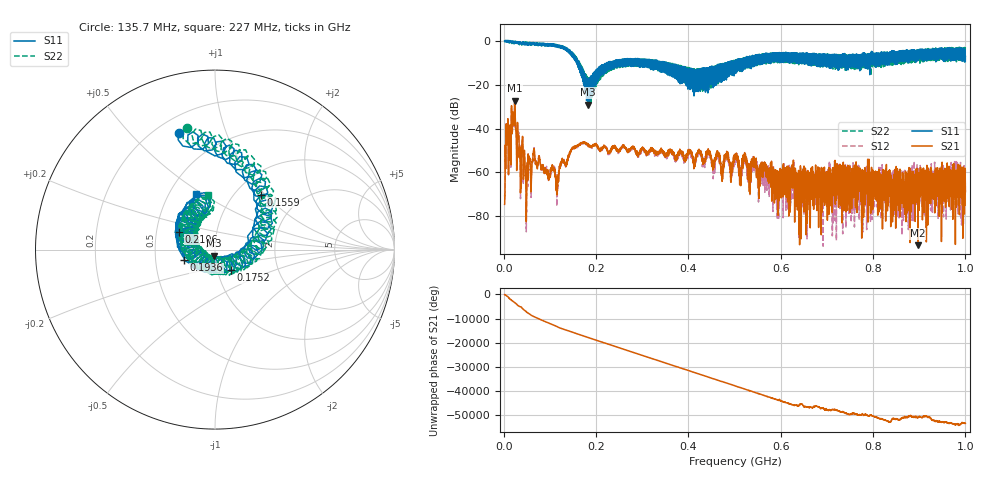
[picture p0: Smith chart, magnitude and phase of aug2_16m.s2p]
!Keysight Technologies N9923A: A.12.45
!Date: Saturday, 02 August 2025 19:02:59
!Timezone: (UTC+08:00) Kuala Lumpur, Singapore
!Model: N9923A
!Serial: MY61181427
!GPS Latitude:
!GPS Longitude:
!GPS TimeStamp: 0001-01-01 00:00:00Z
!GPS Seconds Since Last Read: 0
!CHECKSUM:1992652153
!Correction: S11(ON U)S21(ON U)S12(ON U)S22(ON U)
!S2P File: Measurements:S11,S21,S12,S22:
# Hz S DB R 50
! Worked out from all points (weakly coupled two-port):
!   4001 points, 2 MHz to 1 GHz, reference 50 ohm
!   highest |S21| = -27.26 dB at 23.71 MHz (marker M1); lowest = -93.2 dB at 897.2 MHz (marker M2)
!   lowest |S11| = -29.1 dB at 182.9 MHz (marker M3), VSWR 1.07, Z = 49.3 - j3.42 ohm
!   |S11| at or under -10 dB: 162.5 MHz to 223.5 MHz (61.02 MHz wide, 31.6 % of centre); 223.6 MHz to 225.2 MHz (1.651 MHz wide, 0.736 % of centre); 352.8 MHz to 484.7 MHz (131.9 MHz wide, 31.5 % of centre) (the widest 3 of 253)
!   |S22| runs from -29.1 to 0.1 dB; largest |S21 - S12| = 0.0082
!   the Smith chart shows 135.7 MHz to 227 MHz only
!   S11 on the Smith chart (normalised r, x): 135.7 MHz: 0.29, +0.70; 155.9 MHz: 1.30, +0.95; 175.2 MHz: 1.16, -0.27; 193.6 MHz: 0.70, -0.09; 210.6 MHz: 0.66, +0.14; 227 MHz: 0.68, +0.47
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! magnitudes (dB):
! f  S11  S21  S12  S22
! 2 MHz  -0.1  -74.5  -70.9  -0.1
! 9.735 MHz  -0.1  -44.7  -45.7  -0.1
! 23.71 MHz  -0.8  -27.3  -28.4  -0.9
! 47.16 MHz  -1.5  -61.5  -61.7  -0.7
! 66.12 MHz  -1.9  -49.6  -49.5  -1.8
! 115.5 MHz  -1.9  -69.5  -68.7  -1.9
! 135.7 MHz  -3.4  -57.1  -56.6  -3.1
! 155.9 MHz  -8.0  -48.3  -48.5  -7.2
! 168.4 MHz  -14.6  -46.6  -46.4  -14.9
! 175.2 MHz  -16.7  -46.5  -46.4  -18.4
! 182.9 MHz  -29.1  -47.3  -47.6  -23.3
! 193.6 MHz  -14.8  -48.1  -47.9  -16.3
! 210.6 MHz  -13.0  -49.6  -49.9  -12.4
! 227 MHz  -9.8  -50.7  -50.1  -10.3
! 334.8 MHz  -11.7  -51.1  -51.7  -9.7
! 417.2 MHz  -23.0  -52.9  -54.6  -15.8
! 501 MHz  -12.3  -52.1  -54.2  -13.3
! 591.6 MHz  -8.0  -62.5  -60.9  -8.2
! 667.4 MHz  -6.8  -65.3  -60.8  -10.2
! 833.8 MHz  -6.8  -68.5  -67.7  -7.8
! 897.2 MHz  -9.0  -93.2  -68.9  -4.1
! 1 GHz  -7.1  -68.7  -58.8  -3.1
